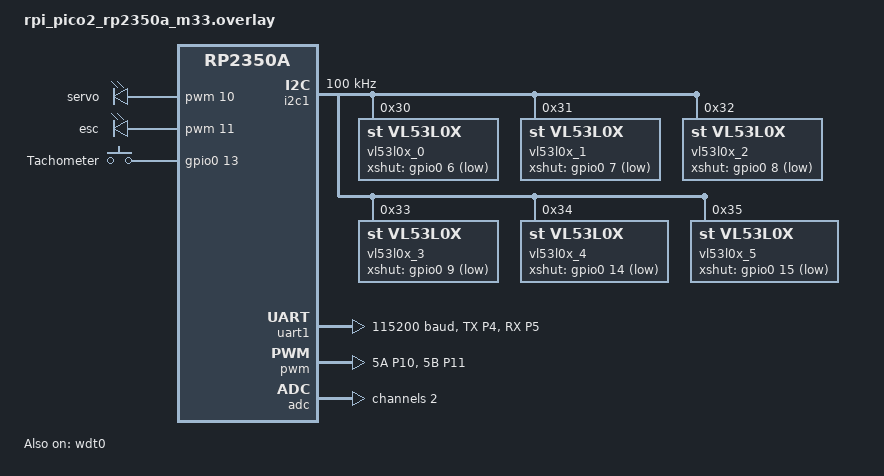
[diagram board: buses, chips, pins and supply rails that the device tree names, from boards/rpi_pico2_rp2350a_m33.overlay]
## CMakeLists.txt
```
cmake_minimum_required(VERSION 3.20.0)

# USB CDC console always enabled for this build
list(APPEND EXTRA_CONF_FILE        ${CMAKE_CURRENT_SOURCE_DIR}/usb_console.conf)
list(APPEND EXTRA_DTC_OVERLAY_FILE ${CMAKE_CURRENT_SOURCE_DIR}/boards/usb_console.overlay)

# Out-of-tree VL53L0X enhanced driver
list(APPEND ZEPHYR_EXTRA_MODULES
  ${CMAKE_CURRENT_SOURCE_DIR}/modules/vl53l0x_enhanced
)

find_package(Zephyr REQUIRED HINTS $ENV{ZEPHYR_BASE})
project(simple_umbreon_zephyr)

target_sources(app PRIVATE
    src/main.c
    src/settings.c
    src/car.c
    src/tachometer.c
    src/sensors.c
    src/battery.c
    src/wifi_cmd.c
    src/control.c
)
```

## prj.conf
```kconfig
# ─── Simple Umbreon Zephyr — Minimal Racing Configuration ─────────────────────

# I/O subsystems
CONFIG_GPIO=y
CONFIG_I2C=y
CONFIG_PWM=y
CONFIG_ADC=y
CONFIG_SERIAL=y
CONFIG_UART_INTERRUPT_DRIVEN=y
CONFIG_SENSOR=y

# VL53L0X enhanced out-of-tree driver (replaces stock)
CONFIG_VL53L0X=n
CONFIG_VL53L0X_ENHANCED=y
CONFIG_VL53L0X_ENHANCED_RECONFIGURE_ADDRESS=y

# NVS persistent settings
CONFIG_NVS=y
CONFIG_NVS_DATA_CRC=y
CONFIG_FLASH=y
CONFIG_FLASH_MAP=y

# Watchdog
CONFIG_WATCHDOG=y

# Console via USB CDC (legacy stack disabled; usb_console.conf enables _NEXT)
CONFIG_CONSOLE=y
CONFIG_UART_CONSOLE=y
CONFIG_USB_DEVICE_STACK=n

# Logging
CONFIG_LOG=y
CONFIG_LOG_DEFAULT_LEVEL=3
CONFIG_PRINTK=y

# UF2 output for BOOTSEL flashing
CONFIG_BUILD_OUTPUT_UF2=y

# Kernel
CONFIG_POLL=y
CONFIG_HEAP_MEM_POOL_SIZE=4096
CONFIG_MAIN_STACK_SIZE=4096
CONFIG_SYS_CLOCK_TICKS_PER_SEC=1000

# Float support in printf (needed for $RUN/$CFG telemetry)
CONFIG_PICOLIBC_IO_FLOAT=y
```

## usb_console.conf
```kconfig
# USB CDC-ACM debug console — new UDC stack (USB_DEVICE_STACK_NEXT)
# Required for RP2350: legacy USB_DEVICE_STACK does not work on rpi_pico2.
CONFIG_USB_DEVICE_STACK_NEXT=y
CONFIG_USBD_CDC_ACM_CLASS=y

# Auto-initialize USB device and CDC ACM at boot (no app code changes needed)
CONFIG_CDC_ACM_SERIAL_INITIALIZE_AT_BOOT=y
CONFIG_CDC_ACM_SERIAL_VID=0x2E8A
CONFIG_CDC_ACM_SERIAL_PID=0x000A
CONFIG_CDC_ACM_SERIAL_PRODUCT_STRING="Umbreon Debug"
CONFIG_CDC_ACM_SERIAL_MANUFACTURER_STRING="Raspberry Pi"

# Line control support for CDC ACM UART
CONFIG_UART_LINE_CTRL=y

# Suppress USB stack noise in logs
CONFIG_USBD_LOG_LEVEL_ERR=y
CONFIG_UDC_DRIVER_LOG_LEVEL_ERR=y
CONFIG_USBD_CDC_ACM_LOG_LEVEL_OFF=y
```

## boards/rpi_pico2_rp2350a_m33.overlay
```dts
/*
 * Devicetree overlay for simple_umbreon_zephyr — Raspberry Pi Pico 2 (RP2350A)
 *
 * Pin assignment:
 *   I2C1  GP2/GP3  100kHz — 6× VL53L0X (0x30–0x35)
 *   UART1 GP4/GP5   115200 — WiFi bridge (ESP8266)
 *   PWM   GP10 (slice 5A) — Steering servo
 *   PWM   GP11 (slice 5B) — Motor ESC
 *   GPIO  GP13 — Tachometer interrupt (RISING)
 *   GPIO  GP6,7,8,9,14,15 — VL53L0X XSHUT pins
 *   ADC   GP28 (channel 2) — Battery voltage divider
 *
 * Removed vs umbreon_zephyr: MPU-6050 (I2C0), SSD1306 OLED, rotary encoder,
 *   UART0 console (USB CDC used instead).
 */

#include <zephyr/dt-bindings/pwm/pwm.h>
#include <zephyr/dt-bindings/i2c/i2c.h>
#include <zephyr/dt-bindings/adc/adc.h>

/ {
	chosen {
		zephyr,console = &uart0;
		zephyr,shell-uart = &uart0;
		zephyr,flash-controller = &qmi;
	};

	pwmleds {
		compatible = "pwm-leds";
		servo: servo_pwm {
			pwms = <&pwm 10 20000000 PWM_POLARITY_NORMAL>;
		};
		esc: esc_pwm {
			pwms = <&pwm 11 20000000 PWM_POLARITY_NORMAL>;
		};
	};

	tachometer {
		compatible = "gpio-keys";
		tach_pin: tach {
			gpios = <&gpio0 13 GPIO_ACTIVE_HIGH>;
			label = "Tachometer";
		};
	};
};

/* ─── Pinctrl overrides ──────────────────────────────────────────────────────── */

/* Override I2C1 pins: GP2 (SDA), GP3 (SCL) — for VL53L0X */
&i2c1_default {
	group1 {
		pinmux = <I2C1_SDA_P2>, <I2C1_SCL_P3>;
		input-enable;
		input-schmitt-enable;
	};
};

/* UART1 pins: GP4 (TX), GP5 (RX) — WiFi bridge (ESP8266) */
&pinctrl {
	uart1_default: uart1_default {
		group1 {
			pinmux = <UART1_TX_P4>;
		};
		group2 {
			pinmux = <UART1_RX_P5>;
			input-enable;
		};
	};
};

/* PWM slice 5 (servo + ESC) */
&pinctrl {
	pwm_ch5ab_default: pwm_ch5ab_default {
		group1 {
			pinmux = <PWM_5A_P10>, <PWM_5B_P11>;
		};
	};
};

/* ─── Disable I2C0 — board default enables it on GP4/GP5, conflicting with UART1 ── */
&i2c0 {
	status = "disabled";
};

/* ─── I2C1: 6× VL53L0X ToF sensors ──────────────────────────────────────────── */
&i2c1 {
	status = "okay";
	clock-frequency = <I2C_BITRATE_STANDARD>;

	vl53l0x_0: vl53l0x@30 {
		compatible = "st,vl53l0x";
		reg = <0x30>;
		xshut-gpios = <&gpio0 6 GPIO_ACTIVE_LOW>;
		status = "okay";
	};
	vl53l0x_1: vl53l0x@31 {
		compatible = "st,vl53l0x";
		reg = <0x31>;
		xshut-gpios = <&gpio0 7 GPIO_ACTIVE_LOW>;
		status = "okay";
	};
	vl53l0x_2: vl53l0x@32 {
		compatible = "st,vl53l0x";
		reg = <0x32>;
		xshut-gpios = <&gpio0 8 GPIO_ACTIVE_LOW>;
		status = "okay";
	};
	vl53l0x_3: vl53l0x@33 {
		compatible = "st,vl53l0x";
		reg = <0x33>;
		xshut-gpios = <&gpio0 9 GPIO_ACTIVE_LOW>;
		status = "okay";
	};
	vl53l0x_4: vl53l0x@34 {
		compatible = "st,vl53l0x";
		reg = <0x34>;
		xshut-gpios = <&gpio0 14 GPIO_ACTIVE_LOW>;
		status = "okay";
	};
	vl53l0x_5: vl53l0x@35 {
		compatible = "st,vl53l0x";
		reg = <0x35>;
		xshut-gpios = <&gpio0 15 GPIO_ACTIVE_LOW>;
		status = "okay";
	};
};

/* ─── UART1: WiFi bridge (GP4 TX, GP5 RX) ────────────────────────────────────── */
&uart1 {
	status = "okay";
	current-speed = <115200>;
	pinctrl-0 = <&uart1_default>;
	pinctrl-names = "default";
};

/* ─── PWM: Servo (GP10) + ESC (GP11) ─────────────────────────────────────────── */
&pwm {
	status = "okay";
	pinctrl-0 = <&pwm_ch5ab_default>;
	pinctrl-names = "default";
};

/* ─── Flash partitions: NVS storage ──────────────────────────────────────────── */
&flash0 {
	partitions {
		compatible = "fixed-partitions";
		#address-cells = <1>;
		#size-cells = <1>;

		/delete-node/ partition@100;

		code_partition: partition@100 {
			label = "code-partition";
			reg = <0x100 (DT_SIZE_M(4) - 0x100 - 0x10000)>;
			read-only;
		};

		storage_partition: partition@3f0000 {
			label = "storage";
			reg = <0x003F0000 0x00010000>;
		};
	};
};

/* ─── Enable watchdog ─────────────────────────────────────────────────────────── */
&wdt0 {
	status = "okay";
};

/* ─── ADC: battery voltage (GP28 = channel 2, 3.3 V reference) ───────────────── */
&adc {
	status = "okay";
	#address-cells = <1>;
	#size-cells = <0>;

	channel@2 {
		reg = <2>;
		zephyr,gain = "ADC_GAIN_1";
		zephyr,reference = "ADC_REF_INTERNAL";
		zephyr,acquisition-time = <ADC_ACQ_TIME_DEFAULT>;
		zephyr,resolution = <12>;
	};
};
```

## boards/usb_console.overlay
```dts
/* USB CDC-ACM debug console overlay
 * Redirects zephyr,console from UART0 to USB virtual serial port.
 */

/ {
	chosen {
		zephyr,console = &cdc_acm_uart0;
	};
};

&zephyr_udc0 {
	cdc_acm_uart0: cdc_acm_uart0 {
		compatible = "zephyr,cdc-acm-uart";
	};
};
```

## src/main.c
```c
/*
 * main.c — Simple umbreon racing firmware entry point.
 *
 * Stripped from umbreon_zephyr: no IMU, battery, display, encoder,
 * track_learn, or tests. Control thread runs the wall-follow law directly.
 */

#include <zephyr/kernel.h>
#include <zephyr/device.h>
#include <zephyr/drivers/gpio.h>
#include <zephyr/drivers/uart.h>
#include <zephyr/logging/log.h>

#if defined(CONFIG_USB_DEVICE_STACK)
#include <zephyr/usb/usb_device.h>
#endif

#include "settings.h"
#include "car.h"
#include "tachometer.h"
#include "sensors.h"
#include "battery.h"
#include "wifi_cmd.h"
#include "control.h"

LOG_MODULE_REGISTER(main, LOG_LEVEL_INF);

#define FW_VERSION "1.0.0"

/* ─── Watchdog ──────────────────────────────────────────────────────────────── */
#include <zephyr/drivers/watchdog.h>

static const struct device *wdt_dev;
static int wdt_channel_id;

static void wdt_init(void)
{
	wdt_dev = DEVICE_DT_GET(DT_NODELABEL(wdt0));
	if (!device_is_ready(wdt_dev)) {
		LOG_WRN("Watchdog not available");
		wdt_dev = NULL;
		return;
	}

	struct wdt_timeout_cfg wdt_cfg = {
		.window.min = 0,
		.window.max = 8000,
		.callback = NULL,
		.flags = WDT_FLAG_RESET_SOC,
	};

	wdt_channel_id = wdt_install_timeout(wdt_dev, &wdt_cfg);
	if (wdt_channel_id < 0) {
		LOG_ERR("Watchdog install failed: %d", wdt_channel_id);
		wdt_dev = NULL;
		return;
	}

	int err = wdt_setup(wdt_dev, WDT_OPT_PAUSE_HALTED_BY_DBG);
	if (err) {
		LOG_ERR("Watchdog setup failed: %d", err);
		wdt_dev = NULL;
	}
}

void wdt_feed_kick(void)
{
	if (wdt_dev) {
		wdt_feed(wdt_dev, wdt_channel_id);
	}
}

/* ─── LED blink ──────────────────────────────────────────────────────────────── */
static const struct gpio_dt_spec led = GPIO_DT_SPEC_GET(DT_ALIAS(led0), gpios);

static void blink_led(int count, int ms)
{
	if (!gpio_is_ready_dt(&led)) {
		return;
	}
	gpio_pin_configure_dt(&led, GPIO_OUTPUT_ACTIVE);
	for (int i = 0; i < count; i++) {
		gpio_pin_set_dt(&led, 1);
		k_msleep(ms);
		gpio_pin_set_dt(&led, 0);
		k_msleep(ms);
	}
}

/* ─── USB console init ───────────────────────────────────────────────────────── */
/* Wait up to 3 s for a USB terminal to assert DTR before printing the banner.
 * Works for both the legacy USB_DEVICE_STACK and the newer _NEXT stack. */
static void usb_console_init(void)
{
	const struct device *dev = DEVICE_DT_GET(DT_CHOSEN(zephyr_console));

	if (!device_is_ready(dev)) {
		return;
	}

#if defined(CONFIG_USB_DEVICE_STACK)
	usb_enable(NULL);
#endif

	uint32_t dtr = 0;
	int64_t deadline = k_uptime_get() + 3000;

	while (!dtr && k_uptime_get() < deadline) {
		uart_line_ctrl_get(dev, UART_LINE_CTRL_DTR, &dtr);
		k_msleep(50);
	}
}

/* ─── Main ──────────────────────────────────────────────────────────────────── */
int main(void)
{
	usb_console_init();

	printk("\n");
	printk("==============================\n");
	printk("  Umbreon Simple v%s\n", FW_VERSION);
	printk("==============================\n");

	settings_init();
	settings_load();

	wdt_init();

	car_init();
	taho_init();
	sensors_init();      /* ~500 ms I2C probing */
	battery_init();
	wdt_feed_kick();
	wifi_cmd_init();

	k_msleep(200);
	wifi_cmd_printf("$BOOT:SNS=%d,FW=%s\n",
			sensors_online_count(), FW_VERSION);

	wdt_feed_kick();
	struct car_settings c;
	settings_get_copy(&c);
	if (!c.calibrated) {
		car_run_calibration();
	} else {
		k_msleep(3700);
	}

	control_init();

	blink_led(3, 100);

	wifi_cmd_printf("$BOOT:READY,UP=%lld\n", k_uptime_get());
	wifi_cmd_send_uicap();

	while (1) {
		k_sleep(K_FOREVER);
	}

	return 0;
}
```

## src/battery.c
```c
/*
 * battery.c — ADC battery voltage monitor
 *
 * Reads GP28 (ADC channel 2) and scales by cfg.bat_multiplier to recover
 * the actual pack voltage. Thread-safe; called from both the control thread
 * (telemetry) and the wifi_cmd thread ($BAT command).
 */

#include "battery.h"
#include "settings.h"

#include <zephyr/kernel.h>
#include <zephyr/drivers/adc.h>
#include <zephyr/logging/log.h>

LOG_MODULE_REGISTER(battery, LOG_LEVEL_INF);

#define BAT_ADC_NODE   DT_NODELABEL(adc)
#define BAT_CH         2    /* GP28 = ADC channel 2 on RP2350 */
#define BAT_RESOLUTION 12

static const struct device *adc_dev;
static bool                 adc_ready;
static K_MUTEX_DEFINE(bat_mutex);

static const struct adc_channel_cfg bat_ch_cfg = {
	.gain             = ADC_GAIN_1,
	.reference        = ADC_REF_INTERNAL,
	.acquisition_time = ADC_ACQ_TIME_DEFAULT,
	.channel_id       = BAT_CH,
};

static float last_voltage;

void battery_init(void)
{
	adc_dev = DEVICE_DT_GET(BAT_ADC_NODE);
	if (!device_is_ready(adc_dev)) {
		LOG_WRN("ADC not ready — battery monitor disabled");
		return;
	}

	int rc = adc_channel_setup(adc_dev, &bat_ch_cfg);
	if (rc) {
		LOG_ERR("ADC channel %d setup failed: %d", BAT_CH, rc);
		return;
	}

	adc_ready = true;
	LOG_INF("Battery ADC ready (GP28, channel %d)", BAT_CH);
}

float battery_voltage(void)
{
	struct car_settings c;
	settings_get_copy(&c);

	if (!adc_ready || !c.bat_enabled) {
		return 0.0f;
	}

	int16_t sample = 0;
	struct adc_sequence seq = {
		.channels    = BIT(BAT_CH),
		.buffer      = &sample,
		.buffer_size = sizeof(sample),
		.resolution  = BAT_RESOLUTION,
	};

	k_mutex_lock(&bat_mutex, K_FOREVER);
	int rc = adc_read(adc_dev, &seq);
	k_mutex_unlock(&bat_mutex);

	if (rc < 0) {
		LOG_DBG("ADC read error: %d", rc);
		return last_voltage;
	}

	int32_t mv = sample;
	adc_raw_to_millivolts(adc_ref_internal(adc_dev), ADC_GAIN_1,
			      BAT_RESOLUTION, &mv);

	last_voltage = (mv / 1000.0f) * c.bat_multiplier;
	return last_voltage;
}

bool battery_is_low(void)
{
	struct car_settings c;
	settings_get_copy(&c);

	if (!c.bat_enabled) {
		return false;
	}

	float v = battery_voltage();
	return (v > 0.1f) && (v < c.bat_low);
}
```

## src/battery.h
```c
#pragma once

#include <stdbool.h>

/* ─── ADC battery voltage monitor (GP28 / channel 2) ─────────────────────── */

void  battery_init(void);

/* Read battery voltage in volts. Returns 0 if bat_enabled=false or ADC not
 * ready. Result is cached; safe to call from multiple threads. */
float battery_voltage(void);

/* True when bat_enabled=true and voltage < bat_low threshold. */
bool  battery_is_low(void);
```

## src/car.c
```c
/*
 * car.c — PWM servo/ESC control + PID speed controller
 *
 * Ported from luna_car.h: write_steer(), write_speed(), pid_control_motor()
 */

#include "car.h"
#include "settings.h"
#include "tachometer.h"

#include <zephyr/kernel.h>
#include <zephyr/device.h>
#include <zephyr/drivers/pwm.h>
#include <zephyr/sys/util.h>
#include <zephyr/logging/log.h>
#include <math.h>
#ifndef M_PI
#define M_PI 3.14159265358979323846
#endif

LOG_MODULE_REGISTER(car, LOG_LEVEL_INF);

/* ─── PWM devices ─────────────────────────────────────────────────────────── */
static const struct pwm_dt_spec servo_pwm = PWM_DT_SPEC_GET(DT_NODELABEL(servo));
static const struct pwm_dt_spec esc_pwm   = PWM_DT_SPEC_GET(DT_NODELABEL(esc));

/* ─── PID state ───────────────────────────────────────────────────────────── */
static float target_speed;
static float pid_ref_applied; /* setpoint after spd_slew limiting */
static float pid_integral;
static float pid_prev_filtered;  /* for derivative-on-measurement */
static float pid_filtered;
static uint32_t pid_prev_cnt;
static int64_t pid_prev_ms;
/* Start boost: edge on forward command from rest */
static int64_t kick_until_ms;
static float kick_prev_pid_ref;

/* ─── Helpers ─────────────────────────────────────────────────────────────── */

/* Convert microseconds to PWM pulse width (in nanoseconds for Zephyr API) */
static inline void servo_set_us(int us)
{
	pwm_set_pulse_dt(&servo_pwm, PWM_USEC(us));
}

static inline void esc_set_us(int us)
{
	pwm_set_pulse_dt(&esc_pwm, PWM_USEC(us));
}

/* Map a value from one range to another (Arduino map() equivalent) */
static inline int map_val(int x, int in_min, int in_max, int out_min, int out_max)
{
	return (x - in_min) * (out_max - out_min) / (in_max - in_min) + out_min;
}

/* ─── Init ────────────────────────────────────────────────────────────────── */

void car_init(void)
{
	if (!pwm_is_ready_dt(&servo_pwm)) {
		LOG_ERR("Servo PWM not ready");
	}
	if (!pwm_is_ready_dt(&esc_pwm)) {
		LOG_ERR("ESC PWM not ready");
	}

	/* Neutral position */
	car_write_steer(0);
	car_write_speed(0);

	LOG_INF("Car PWM init done (servo GP10, ESC GP11)");
}

/* ─── Steering ────────────────────────────────────────────────────────────── */
/* Port of Car::write_steer() from luna_car.h:408-415 */

void car_write_steer(int s)
{
	struct car_settings c;
	settings_get_copy(&c);

	if (c.servo_reverse) {
		s = -s;
	}
	s = CLAMP(s, -1000, 1000);

	int angle;
	if (s < 0) {
		angle = map_val(s, -1000, 0, c.min_point, c.neutral_point);
	} else {
		angle = map_val(s, 0, 1000, c.neutral_point, c.max_point);
	}

	/* Convert angle (0–180°) to pulse width (700–2300 µs) */
	int pulse_us = 700 + angle * 1600 / 180;
	servo_set_us(pulse_us);
}

void car_write_servo_raw(int angle)
{
	angle = CLAMP(angle, 0, 180);
	int pulse_us = 700 + angle * 1600 / 180;
	servo_set_us(pulse_us);
}

/* ─── ESC ─────────────────────────────────────────────────────────────────── */

void car_write_esc_us(int us)
{
	us = CLAMP(us, 1000, 2000);
	esc_set_us(us);
}

/* Port of Car::write_speed() from luna_car.h:396-405 */
void car_write_speed(int s)
{
	struct car_settings c;
	settings_get_copy(&c);

	/* Reset PID state — direct control bypasses PID */
	car_pid_reset();

	s = CLAMP(s, -1000, 1000);
	int us;
	if (s > 0) {
		us = map_val(s, 1, 1000, c.min_speed, c.max_speed);
	} else if (s < 0) {
		us = map_val(s, -1000, -1, 1000, c.min_bspeed);
	} else {
		us = NEUTRAL_SPEED;
	}
	esc_set_us(us);
}

void car_write_speed_ms(float target)
{
	target_speed = target;
}

/* ─── PID ─────────────────────────────────────────────────────────────────── */
/* Port of Car::pid_control_motor() from luna_car.h:350-390 */

void car_pid_reset(void)
{
	pid_integral = 0;
	pid_prev_filtered = 0;
	pid_filtered = 0;
	pid_prev_cnt = taho_get_count();
	pid_prev_ms = 0;
	target_speed = 0;
	pid_ref_applied = 0;
	kick_until_ms = 0;
	kick_prev_pid_ref = 0;
}

void car_pid_control(void)
{
	struct car_settings c;
	settings_get_copy(&c);

	int64_t now_ms = k_uptime_get();
	if (pid_prev_ms == 0) {
		pid_prev_ms = now_ms;
		return;
	}

	float dt = (now_ms - pid_prev_ms) / 1000.0f;
	if (dt < 0.01f) {
		return;
	}
	pid_prev_ms = now_ms;

	/* Count-based speed measurement */
	uint32_t cnt = taho_get_count();
	uint32_t delta_cnt = cnt - pid_prev_cnt;
	pid_prev_cnt = cnt;

	float raw_speed = 0.0f;
	if (c.encoder_holes > 0) {
		raw_speed = (delta_cnt / (float)c.encoder_holes) *
			    ((float)M_PI * c.wheel_diam_m) / dt;
	}

	/* EMA filter (0.7 = responsive, 0.3 = smooth) */
	pid_filtered = 0.7f * raw_speed + 0.3f * pid_filtered;
	if (taho_time_since_last_us() > 500000) {
		pid_filtered = 0;
	}

	/* Slew-limit setpoint (m/s²) — smooth start / mode transitions */
	if (c.spd_slew > 0.001f) {
		float step = c.spd_slew * dt;
		if (target_speed > pid_ref_applied + step) {
			pid_ref_applied += step;
		} else if (target_speed < pid_ref_applied - step) {
			pid_ref_applied -= step;
		} else {
			pid_ref_applied = target_speed;
		}
	} else {
		pid_ref_applied = target_speed;
	}

	/* Kick-off pulse: % of (max−min) ESC span for kick_ms after forward edge from rest */
	bool want_fwd = pid_ref_applied > 0.02f;
	bool had_fwd = kick_prev_pid_ref > 0.02f;
	if (!want_fwd) {
		kick_until_ms = 0;
	} else if (!had_fwd && pid_filtered < 0.10f && c.kick_pct > 0.05f &&
		   c.kick_ms > 0) {
		kick_until_ms = now_ms + c.kick_ms;
	}
	if (want_fwd && pid_ref_applied > 0.05f &&
	    pid_filtered >= pid_ref_applied * 0.78f) {
		kick_until_ms = 0;
	}
	kick_prev_pid_ref = pid_ref_applied;

	/* PID — derivative on measurement (no kick on target change) */
	float error = pid_ref_applied - pid_filtered;
	pid_integral += error * dt;
	pid_integral = CLAMP(pid_integral, -50.0f, 50.0f);
	float deriv = -(pid_filtered - pid_prev_filtered) / dt;
	pid_prev_filtered = pid_filtered;

	/* Feedforward: jump past motor dead zone (follows slewed setpoint) */
	float ff = (pid_ref_applied > 0.01f) ? (float)(c.min_speed - NEUTRAL_SPEED) : 0;
	float output = ff + c.pid_kp * error + c.pid_ki * pid_integral + c.pid_kd * deriv;

	float kick_us = 0.0f;
	if (c.kick_pct > 0.05f && want_fwd && now_ms < kick_until_ms) {
		int span = c.max_speed - c.min_speed;
		if (span < 1) {
			span = 1;
		}
		kick_us = (c.kick_pct / 100.0f) * (float)span;
		if (kick_us > 40.0f) {
			kick_us = 40.0f;
		}
	}

	int esc_val = NEUTRAL_SPEED + (int)(output + kick_us);
	esc_val = CLAMP(esc_val, NEUTRAL_SPEED, c.max_speed);
	esc_set_us(esc_val);
}

/* ─── ESC Calibration ─────────────────────────────────────────────────────── */
/* Port of run_calibration() from Umbreon_roborace.ino:1030-1057 */

void car_run_calibration(void)
{
	extern void wdt_feed_kick(void);
	extern void wifi_cmd_send(const char *str);

	LOG_INF("ESC calibration: max signal");
	wifi_cmd_send("$T:CAL,phase=esc_max\n");
	esc_set_us(2000);
	k_msleep(3000);
	wdt_feed_kick();

	LOG_INF("ESC calibration: min signal");
	wifi_cmd_send("$T:CAL,phase=esc_min\n");
	esc_set_us(1000);
	k_msleep(3000);
	wdt_feed_kick();

	LOG_INF("ESC calibration: neutral");
	wifi_cmd_send("$T:CAL,phase=esc_neutral\n");
	esc_set_us(NEUTRAL_SPEED);
	k_msleep(1000);
	wdt_feed_kick();

	settings_lock();
	cfg.calibrated = true;
	settings_unlock();
	if (!settings_save()) {
		LOG_WRN("ESC calibration flag save failed");
		wifi_cmd_send("$WARN:CAL_SAVE_FAILED\n");
	}

	wifi_cmd_send("$T:CAL,phase=done\n");
	wifi_cmd_send("$TDONE:cal\n");
	LOG_INF("ESC calibration complete");
}
```

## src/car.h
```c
#pragma once

#include <stdbool.h>

/* ─── Car control: PWM servo + ESC ────────────────────────────────────────── */

void car_init(void);

/* Steering: -1000 (left) … +1000 (right) */
void car_write_steer(int s);

/* Direct servo angle write (0–180°) for calibration */
void car_write_servo_raw(int angle);

/* Direct ESC µs write (1000–2000) for calibration */
void car_write_esc_us(int us);

/* Raw speed: -1000 … +1000, bypasses PID */
void car_write_speed(int s);

/* Set target speed for PID (m/s) */
void car_write_speed_ms(float target);

/* Run PID control tick — call from control loop */
void car_pid_control(void);

/* PID state reset */
void car_pid_reset(void);

/* ESC calibration: max → min → neutral */
void car_run_calibration(void);
```

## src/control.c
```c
/*
 * control.c — Simple wall-follow racing loop.
 *
 * Ports roborace_car/roborace_car.ino work() to Zephyr.
 * No IMU, no stuck/wrong-dir recovery. PID speed loop via car.c.
 *
 * All 6 sensors are used. Physical layout:
 *
 *          FRONT
 *   FL(4)       FR(1)
 * HL(5)           HR(0)
 *   L(3)         R(2)
 *          REAR
 *
 * Front obstacle : FL(4), FR(1)            — blocked-lane detection
 * Side wall dist : MIN(L,HL), MIN(R,HR)    — catches angled wall approaches
 */

#include "control.h"
#include "settings.h"
#include "car.h"
#include "tachometer.h"
#include "sensors.h"
#include "battery.h"
#include "wifi_cmd.h"

#include <zephyr/kernel.h>
#include <zephyr/sys/util.h>
#include <zephyr/logging/log.h>
#include <zephyr/drivers/gpio.h>

LOG_MODULE_REGISTER(control, LOG_LEVEL_INF);

static const struct gpio_dt_spec led = GPIO_DT_SPEC_GET(DT_ALIAS(led0), gpios);

#define CONTROL_STACK_SIZE 4096
#define CONTROL_PRIORITY   2

static K_THREAD_STACK_DEFINE(control_stack, CONTROL_STACK_SIZE);
static struct k_thread control_td;

struct control_state {
	bool running;
	bool drv_enabled;
	bool manual_active;   /* set by $DRV; expires after 500 ms */
	bool raw_esc_active;
	bool raw_servo_active;
	int manual_steer;
	float manual_speed;
	int raw_esc_us;
	int raw_servo_angle;
	int64_t last_drv_ms;
};

static struct control_state ctl;
static K_MUTEX_DEFINE(ctl_mutex);

extern void wdt_feed_kick(void);

static int run_div;
static uint32_t telem_count;

static void neutral_actuators(void)
{
	car_write_speed(0);
	car_write_steer(0);
	car_pid_reset();
}

static void clear_drive_command_locked(void)
{
	ctl.manual_active = false;
	ctl.raw_esc_active = false;
	ctl.raw_servo_active = false;
	ctl.manual_steer = 0;
	ctl.manual_speed = 0.0f;
	ctl.raw_esc_us = NEUTRAL_SPEED;
	ctl.raw_servo_angle = 90;
}

static void control_safe_stop(bool stop_running, bool disable_drive)
{
	k_mutex_lock(&ctl_mutex, K_FOREVER);
	if (stop_running) {
		ctl.running = false;
	}
	if (disable_drive) {
		ctl.drv_enabled = false;
	}
	clear_drive_command_locked();
	k_mutex_unlock(&ctl_mutex);

	neutral_actuators();
}

static void send_telem(const int *s, int steer, float spd_target)
{
	float bat = battery_voltage();

	wifi_cmd_printf("%lld,%d,%d,%d,%d,%d,%d,%d,%.2f,%.1f,%.2f\n",
			k_uptime_get(),
			s[0], s[1], s[2], s[3], s[4], s[5],
			steer, (double)taho_get_speed(), (double)spd_target,
			(double)bat);

	if ((++telem_count % 25) == 0) {  /* every ~5 s */
		LOG_INF("telem tx: %u frames", telem_count);
	}

	if (battery_is_low()) {
		wifi_cmd_printf("$WARN:BAT_LOW,v=%.2f\n", (double)bat);
	}
}

static void work(const struct car_settings *c)
{
	gpio_pin_toggle_dt(&led);
	int *s = sensors_poll();
	if (!sensors_required_ready(c->use_six_sensors)) {
		control_safe_stop(true, true);
		wifi_cmd_send("$WARN:SENSOR_FAULT\n");
		wifi_cmd_send("$STS:STOP\n");
		return;
	}

	int HR = s[IDX_HARD_RIGHT];
	int FR = s[IDX_FRONT_RIGHT];
	int R  = s[IDX_RIGHT];
	int L  = s[IDX_LEFT];
	int FL = s[IDX_FRONT_LEFT];
	int HL = s[IDX_HARD_LEFT];

	/* Front obstacle detection: diagonal sensors only */
	bool f_l = FL < c->front_obstacle_dist;
	bool f_r = FR < c->front_obstacle_dist;

	/* Side wall distances.
	 * 6-sensor mode: MIN of each pair catches angled approaches early.
	 * 4-sensor mode: pure side sensors only (legacy behaviour). */
	int left_wall  = c->use_six_sensors ? MIN(L, HL) : L;
	int right_wall = c->use_six_sensors ? MIN(R, HR) : R;

	int diff;
	if (left_wall > c->side_open_dist && right_wall > c->side_open_dist) {
		/* Both sides open: bias right to find a wall */
		diff = 800;
	} else {
		diff = right_wall - left_wall;
	}

	/* Boxed in: core 4 sensors always checked; HL/HR added in 6-sensor mode */
	bool boxed = (L  < c->all_close_dist) && (FL < c->all_close_dist) &&
		     (FR < c->all_close_dist) && (R  < c->all_close_dist) &&
		     (!c->use_six_sensors ||
		      (HL < c->all_close_dist && HR < c->all_close_dist));
	if (boxed) {
		diff = 800;
	}

	int how_clear = (int)f_l + (int)f_r;
	float coef = (how_clear == 0) ? c->coe_clear   : c->coe_blocked;
	float spd  = (how_clear == 0) ? c->spd_clear   : c->spd_blocked;

	int steer = (int)((float)diff * coef);
	car_write_steer(steer);
	car_write_speed_ms(spd);
	car_pid_control();

	if (++run_div >= 5) {   /* 5 × 40 ms = 200 ms telemetry cadence */
		run_div = 0;
		send_telem(s, steer, spd);
		wifi_cmd_printf("$RUN:%d,%d\n", how_clear, steer);
	}
}

static void control_thread(void *a, void *b, void *c_)
{
	ARG_UNUSED(a);
	ARG_UNUSED(b);
	ARG_UNUSED(c_);

	struct car_settings c;
	settings_get_copy(&c);
	int64_t next = k_uptime_get();

	LOG_INF("Control thread started");

	while (1) {
		wdt_feed_kick();

		int64_t now = k_uptime_get();
		if (now < next) {
			k_msleep((int32_t)(next - now));
			now = k_uptime_get();
		}
		settings_get_copy(&c);
		next = (next + c.loop_ms > now) ? next + c.loop_ms : now + c.loop_ms;

		struct control_state snap;
		k_mutex_lock(&ctl_mutex, K_FOREVER);
		snap = ctl;
		k_mutex_unlock(&ctl_mutex);

		bool has_drive_cmd = snap.manual_active || snap.raw_esc_active ||
				     snap.raw_servo_active;
		bool drv_fresh = has_drive_cmd &&
				 (k_uptime_get() - snap.last_drv_ms < 500);
		bool drv_active = snap.drv_enabled && drv_fresh;

		if (drv_active) {
			int *s = sensors_poll();
			if (!sensors_required_ready(c.use_six_sensors)) {
				control_safe_stop(true, true);
				wifi_cmd_send("$WARN:SENSOR_FAULT\n");
				wifi_cmd_send("$STS:STOP\n");
				continue;
			}
			if (snap.raw_servo_active) {
				car_write_servo_raw(snap.raw_servo_angle);
			} else {
				car_write_steer(snap.manual_steer);
			}
			if (snap.raw_esc_active) {
				car_write_esc_us(snap.raw_esc_us);
			} else {
				car_write_speed_ms(snap.manual_speed);
				car_pid_control();
			}
			if (++run_div >= 5) {
				run_div = 0;
				send_telem(s, snap.manual_steer, snap.manual_speed);
			}
		} else if (snap.drv_enabled && has_drive_cmd && !drv_fresh) {
			control_safe_stop(false, false);
		} else if (snap.running) {
			k_mutex_lock(&ctl_mutex, K_FOREVER);
			clear_drive_command_locked();
			k_mutex_unlock(&ctl_mutex);
			work(&c);
		} else {
			int *s = sensors_poll();
			if (++run_div >= 5) {
				run_div = 0;
				send_telem(s, 0, 0.0f);
			}
		}
	}
}

void control_init(void)
{
	gpio_pin_configure_dt(&led, GPIO_OUTPUT_INACTIVE);
	k_thread_create(&control_td, control_stack,
			K_THREAD_STACK_SIZEOF(control_stack),
			control_thread, NULL, NULL, NULL,
			CONTROL_PRIORITY, 0, K_NO_WAIT);
	k_thread_name_set(&control_td, "control");
}

void control_cmd_start(void)
{
	struct car_settings c;
	settings_get_copy(&c);
	if (!sensors_required_ready(c.use_six_sensors)) {
		wifi_cmd_send("$NAK:sensor_fault\n");
		return;
	}

	car_pid_reset();
	k_mutex_lock(&ctl_mutex, K_FOREVER);
	ctl.running = true;
	clear_drive_command_locked();
	k_mutex_unlock(&ctl_mutex);
	wifi_cmd_send("$STS:RUN\n");
}

void control_cmd_stop(void)
{
	control_safe_stop(true, true);
	wifi_cmd_send("$STS:STOP\n");
}

bool control_is_running(void)
{
	bool is_running;
	k_mutex_lock(&ctl_mutex, K_FOREVER);
	is_running = ctl.running;
	k_mutex_unlock(&ctl_mutex);
	return is_running;
}

bool control_drive_enabled(void)
{
	bool enabled;
	k_mutex_lock(&ctl_mutex, K_FOREVER);
	enabled = ctl.drv_enabled;
	k_mutex_unlock(&ctl_mutex);
	return enabled;
}

bool control_set_manual(int steer, float speed)
{
	bool accepted = false;

	k_mutex_lock(&ctl_mutex, K_FOREVER);
	if (ctl.drv_enabled) {
		ctl.manual_steer = steer;
		ctl.manual_speed = speed;
		ctl.manual_active = true;
		ctl.raw_esc_active = false;
		ctl.raw_servo_active = false;
		ctl.last_drv_ms = k_uptime_get();
		accepted = true;
	}
	k_mutex_unlock(&ctl_mutex);

	return accepted;
}

bool control_set_raw_esc_us(int us)
{
	bool accepted = false;

	k_mutex_lock(&ctl_mutex, K_FOREVER);
	if (ctl.drv_enabled) {
		ctl.raw_esc_us = CLAMP(us, 1000, 2000);
		ctl.raw_esc_active = true;
		ctl.raw_servo_active = false;
		ctl.raw_servo_angle = 90;
		ctl.manual_active = false;
		ctl.manual_speed = 0.0f;
		ctl.manual_steer = 0;
		ctl.last_drv_ms = k_uptime_get();
		accepted = true;
	}
	k_mutex_unlock(&ctl_mutex);

	return accepted;
}

bool control_set_raw_servo(int angle)
{
	bool accepted = false;

	k_mutex_lock(&ctl_mutex, K_FOREVER);
	if (ctl.drv_enabled) {
		ctl.raw_servo_angle = CLAMP(angle, 0, 180);
		ctl.raw_servo_active = true;
		ctl.raw_esc_active = false;
		ctl.raw_esc_us = NEUTRAL_SPEED;
		ctl.manual_active = false;
		ctl.manual_steer = 0;
		ctl.manual_speed = 0.0f;
		ctl.last_drv_ms = k_uptime_get();
		accepted = true;
	}
	k_mutex_unlock(&ctl_mutex);

	return accepted;
}

void control_set_drv_enabled(bool enabled)
{
	k_mutex_lock(&ctl_mutex, K_FOREVER);
	ctl.drv_enabled = enabled;
	if (!enabled) {
		clear_drive_command_locked();
	}
	k_mutex_unlock(&ctl_mutex);

	if (!enabled) {
		neutral_actuators();
	}
}
```

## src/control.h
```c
#pragma once

#include <stdbool.h>

void control_init(void);

bool control_is_running(void);

void control_cmd_start(void);
void control_cmd_stop(void);

bool control_drive_enabled(void);
bool control_set_manual(int steer, float speed);
bool control_set_raw_esc_us(int us);
bool control_set_raw_servo(int angle);
void control_set_drv_enabled(bool enabled);
```

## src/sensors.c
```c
/*
 * sensors.c — 6× VL53L0X ToF sensor array
 *
 * Uses the enhanced VL53L0X driver (out-of-tree module) which supports
 * continuous back-to-back measurement mode via standard Zephyr sensor API.
 * Non-blocking reads (~1 ms/sensor instead of ~33 ms in single-shot).
 *
 * Sensor order: [Hard-Right, Front-Right, Right, Left, Front-Left, Hard-Left]
 */

#include "sensors.h"
#include "settings.h"

#include <errno.h>
#include <zephyr/kernel.h>
#include <zephyr/device.h>
#include <zephyr/devicetree.h>
#include <zephyr/drivers/sensor.h>
#include <zephyr/drivers/i2c.h>
#include <zephyr/sys/util.h>
#include <zephyr/logging/log.h>
#if CONFIG_DT_HAS_ST_VL53L0X_ENABLED
#include <vl53l0x_enhanced.h>
#endif

LOG_MODULE_REGISTER(sensors, LOG_LEVEL_INF);

#define VL53L0X_MAX_RAW  8190  /* sensor overflow / out-of-range indicator */
#define VL53_ERROR_LIMIT 3
#define VL53_STALE_MS    300
#define VL53_STATUS_SIGNAL_FAIL 2
#define VL53_STATUS_NO_UPDATE   255

static int distances[SENSOR_COUNT]; /* cm×10 */
static int online_count;
static uint8_t error_count[SENSOR_COUNT];
static int64_t last_ok_ms[SENSOR_COUNT];
static bool fresh[SENSOR_COUNT];
static K_MUTEX_DEFINE(sensor_mutex);

#if CONFIG_DT_HAS_ST_VL53L0X_ENABLED
/* ─── Device handles ──────────────────────────────────────────────────────── */
static const struct device *vl53_devs[SENSOR_COUNT];
static bool vl53_valid[SENSOR_COUNT];

extern void wdt_feed_kick(void);

/* ─── Sensor nodelabel → device mapping ───────────────────────────────────── */
#define VL53_DEV(idx, label) \
	vl53_devs[idx] = DEVICE_DT_GET_OR_NULL(DT_NODELABEL(label))
#endif

/* ─── Init ────────────────────────────────────────────────────────────────── */

void sensors_init(void)
{
#if CONFIG_DT_HAS_ST_VL53L0X_ENABLED
	/* Try I2C bus recovery before initializing sensors */
	const struct device *i2c1 = DEVICE_DT_GET(DT_NODELABEL(i2c1));
	if (device_is_ready(i2c1)) {
		int rc = i2c_recover_bus(i2c1);
		if (rc == 0) {
			LOG_INF("I2C1 bus recovery OK");
		} else if (rc == -ENOSYS) {
			LOG_DBG("I2C1 bus recovery not supported");
		} else {
			LOG_WRN("I2C1 bus recovery failed: %d", rc);
		}
	}

	/* Get device handles — order matches sensor_config.h indices */
	VL53_DEV(0, vl53l0x_0);  /* IDX_HARD_RIGHT  — XSHUT GP6  */
	VL53_DEV(1, vl53l0x_1);  /* IDX_FRONT_RIGHT — XSHUT GP7  */
	VL53_DEV(2, vl53l0x_2);  /* IDX_RIGHT       — XSHUT GP8  */
	VL53_DEV(3, vl53l0x_3);  /* IDX_LEFT        — XSHUT GP9  */
	VL53_DEV(4, vl53l0x_4);  /* IDX_FRONT_LEFT  — XSHUT GP14 */
	VL53_DEV(5, vl53l0x_5);  /* IDX_HARD_LEFT   — XSHUT GP15 */

	online_count = 0;
	for (int i = 0; i < SENSOR_COUNT; i++) {
		distances[i] = 9999;
		error_count[i] = 0;
		last_ok_ms[i] = 0;
		fresh[i] = false;
		if (vl53_devs[i] && device_is_ready(vl53_devs[i])) {
			vl53_valid[i] = true;
			online_count++;
		} else {
			vl53_valid[i] = false;
			LOG_WRN("VL53L0X[%d] not ready", i);
		}
	}

	LOG_INF("VL53L0X: %d/%d online", online_count, SENSOR_COUNT);

	/*
	 * Phase 2: trigger lazy init (calibration) via first blocking fetch,
	 * then configure high-speed profile and continuous mode.
	 */
	int cont_count = 0;
	for (int i = 0; i < SENSOR_COUNT; i++) {
		if (!vl53_valid[i]) {
			continue;
		}

		/* First fetch triggers lazy init: XSHUT release, address reconfig,
		 * DataInit, StaticInit, calibration (~50 ms per sensor). */
		int rc = sensor_sample_fetch(vl53_devs[i]);
		wdt_feed_kick();
		if (rc != 0) {
			LOG_WRN("VL53L0X[%d] init fetch failed: %d", i, rc);
			vl53_valid[i] = false;
			online_count--;
			continue;
		}

		/* Set high-speed profile (20 ms timing budget) */
		struct sensor_value val = { .val1 = VL53L0X_PROFILE_HIGH_SPEED };
		rc = sensor_attr_set(vl53_devs[i], SENSOR_CHAN_DISTANCE,
				     (enum sensor_attribute)SENSOR_ATTR_VL53L0X_PROFILE,
				     &val);
		if (rc != 0) {
			LOG_WRN("VL53L0X[%d] profile set failed: %d", i, rc);
		}

		/* Switch to continuous back-to-back mode */
		val.val1 = VL53L0X_MODE_CONTINUOUS;
		rc = sensor_attr_set(vl53_devs[i], SENSOR_CHAN_DISTANCE,
				     (enum sensor_attribute)SENSOR_ATTR_VL53L0X_MODE,
				     &val);
		if (rc != 0) {
			LOG_WRN("VL53L0X[%d] continuous start failed: %d", i, rc);
			vl53_valid[i] = false;
			online_count--;
		} else {
			cont_count++;
		}
	}

	LOG_INF("VL53L0X: %d/%d continuous mode", cont_count, online_count);
#else
	online_count = 0;
	for (int i = 0; i < SENSOR_COUNT; i++) {
		distances[i] = 9999;
		error_count[i] = 0;
		last_ok_ms[i] = 0;
		fresh[i] = false;
	}
	LOG_WRN("VL53 disabled by devicetree overlay (HIL no-sensors mode)");
#endif
}

/* ─── Poll ────────────────────────────────────────────────────────────────── */

#if CONFIG_DT_HAS_ST_VL53L0X_ENABLED
static void mark_invalid(int i)
{
	k_mutex_lock(&sensor_mutex, K_FOREVER);
	distances[i] = 9999;
	fresh[i] = false;
	k_mutex_unlock(&sensor_mutex);
}

static void mark_open(int i)
{
	k_mutex_lock(&sensor_mutex, K_FOREVER);
	distances[i] = 9999;
	error_count[i] = 0;
	last_ok_ms[i] = k_uptime_get();
	fresh[i] = true;
	k_mutex_unlock(&sensor_mutex);
}

static void mark_stale_if_needed(int i)
{
	k_mutex_lock(&sensor_mutex, K_FOREVER);
	if (last_ok_ms[i] > 0 &&
	    k_uptime_get() - last_ok_ms[i] > VL53_STALE_MS) {
		distances[i] = 9999;
		fresh[i] = false;
	}
	k_mutex_unlock(&sensor_mutex);
}

static void mark_error(int i)
{
	k_mutex_lock(&sensor_mutex, K_FOREVER);
	if (error_count[i] < UINT8_MAX) {
		error_count[i]++;
	}

	if (error_count[i] >= VL53_ERROR_LIMIT ||
	    (last_ok_ms[i] > 0 &&
	     k_uptime_get() - last_ok_ms[i] > VL53_STALE_MS)) {
		distances[i] = 9999;
		fresh[i] = false;
	}
	k_mutex_unlock(&sensor_mutex);
}

static void store_mm(int i, int mm)
{
	if (mm >= VL53L0X_MAX_RAW) {
		mark_open(i);
	} else if (mm <= 0) {
		mark_error(i);
	} else {
		k_mutex_lock(&sensor_mutex, K_FOREVER);
		distances[i] = (mm < MAX_SENSOR_RANGE) ? mm : MAX_SENSOR_RANGE;
		error_count[i] = 0;
		last_ok_ms[i] = k_uptime_get();
		fresh[i] = true;
		k_mutex_unlock(&sensor_mutex);
	}
}

static void poll_one(int i)
{
	if (!vl53_valid[i]) {
		mark_invalid(i);
		return;
	}

	int rc = sensor_sample_fetch(vl53_devs[i]);
	if (rc != 0) {
		if (rc == -EAGAIN) {
			mark_stale_if_needed(i);
			return;
		}
		mark_error(i);
		return;
	}

	struct sensor_value status;
	rc = sensor_channel_get(vl53_devs[i],
				(enum sensor_channel)SENSOR_CHAN_VL53L0X_RANGE_STATUS,
				&status);
	bool status_valid = (rc == 0);

	struct sensor_value val;
	rc = sensor_channel_get(vl53_devs[i], SENSOR_CHAN_DISTANCE, &val);
	if (rc != 0) {
		mark_error(i);
		return;
	}

	/* Convert meters.microns to mm (== cm×10) */
	int mm = val.val1 * 1000 + val.val2 / 1000;
	if (status_valid && status.val1 != 0) {
		if (status.val1 == VL53_STATUS_SIGNAL_FAIL &&
		    mm >= MAX_SENSOR_RANGE) {
			mark_open(i);
		} else if (status.val1 == VL53_STATUS_NO_UPDATE) {
			mark_stale_if_needed(i);
		} else {
			mark_error(i);
		}
		return;
	}
	store_mm(i, mm);
}
#endif

int *sensors_poll(void)
{
#if CONFIG_DT_HAS_ST_VL53L0X_ENABLED
	for (int i = 0; i < SENSOR_COUNT; i++) {
		poll_one(i);
	}
#endif
	return distances;
}

int *sensors_poll_mask(uint8_t mask)
{
#if CONFIG_DT_HAS_ST_VL53L0X_ENABLED
	for (int i = 0; i < SENSOR_COUNT; i++) {
		if (mask & BIT(i)) {
			poll_one(i);
		}
	}
#else
	ARG_UNUSED(mask);
#endif
	return distances;
}

int sensors_online_count(void)
{
	return online_count;
}

bool sensors_required_ready(bool use_six_sensors)
{
	uint8_t mask = BIT(IDX_FRONT_RIGHT) | BIT(IDX_RIGHT) |
		       BIT(IDX_LEFT) | BIT(IDX_FRONT_LEFT);
	bool ready = true;

	if (use_six_sensors) {
		mask |= BIT(IDX_HARD_RIGHT) | BIT(IDX_HARD_LEFT);
	}

	k_mutex_lock(&sensor_mutex, K_FOREVER);
	for (int i = 0; i < SENSOR_COUNT; i++) {
		if ((mask & BIT(i)) == 0) {
			continue;
		}
		if (!fresh[i] || last_ok_ms[i] == 0 ||
		    k_uptime_get() - last_ok_ms[i] > VL53_STALE_MS) {
			ready = false;
			break;
		}
	}
	k_mutex_unlock(&sensor_mutex);

	return ready;
}

const int *sensors_get_distances(void)
{
	return distances;
}
```

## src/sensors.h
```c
#pragma once

#include <stdbool.h>
#include <stdint.h>

/* ─── VL53L0X ToF sensor array (6 sensors on I2C1) ───────────────────────── */

void sensors_init(void);

/* Poll all sensors — updates internal distance array.
 * Returns pointer to static int[6] of distances in cm×10. */
int *sensors_poll(void);

/* Poll only sensors selected by bitmask (BIT(IDX_LEFT) | BIT(IDX_RIGHT) etc.).
 * Unselected sensors keep their previous values.
 * Returns same pointer as sensors_poll(). */
int *sensors_poll_mask(uint8_t mask);

/* Get number of successfully initialized sensors */
int sensors_online_count(void);

/* True when the control-critical sensor set is initialized and fresh. */
bool sensors_required_ready(bool use_six_sensors);

/* Get pointer to last-polled distance array (6 values, cm×10).
 * Updated by sensors_poll() in control thread. Read-only. */
const int *sensors_get_distances(void);
```

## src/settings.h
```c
#pragma once

#include <stdbool.h>
#include <stdint.h>

/* ─── Runtime-configurable parameters (35 total) ──────────────────────────── */
struct car_settings {
	/* Obstacle thresholds (cm×10) */
	int front_obstacle_dist;
	int side_open_dist;
	int all_close_dist;
	int close_front_dist;

	/* PID coefficients */
	float pid_kp;
	float pid_ki;
	float pid_kd;

	/* ESC limits (µs, 1000–2000, neutral 1500) */
	int min_speed;
	int max_speed;
	int min_bspeed;

	/* Steering limits (servo degrees) */
	int min_point;
	int max_point;
	int neutral_point;

	/* Tachometer */
	int encoder_holes;
	float wheel_diam_m;

	/* Control loop */
	int loop_ms;

	/* Speed/steer coefficients */
	float spd_clear;
	float spd_blocked;
	/* Max rate of change of PID speed setpoint (m/s²); 0 = instant step */
	float spd_slew;
	/* Start boost: extra ESC µs = kick_pct% of (max_speed−min_speed) for kick_ms */
	float kick_pct;
	int   kick_ms;
	float coe_clear;
	float coe_blocked;

	/* Navigation */
	float wrong_dir_deg;
	bool race_cw;
	int stuck_thresh;
	int stall_thresh;

	/* IMU */
	bool imu_rotate;

	/* Servo */
	bool servo_reverse;

	/* Sensor mode: true = use all 6 sensors, false = 4-sensor legacy mode */
	bool use_six_sensors;

	/* Calibration */
	bool calibrated;

	/* Battery */
	bool bat_enabled;
	float bat_multiplier;
	float bat_low;

	/* Tachometer glitch reject threshold (µs) */
	int tach_glitch_filter_us;

	/* Recovery (reverse-and-turn when stuck) */
	int   reverse_time_ms;
	int   turn_time_ms;
	float reverse_speed;
};

/* Global configuration instance */
extern struct car_settings cfg;

/* ─── Sensor constants ────────────────────────────────────────────────────── */
#define SENSOR_COUNT        6
#define IDX_HARD_RIGHT      0
#define IDX_FRONT_RIGHT     1
#define IDX_RIGHT           2
#define IDX_LEFT            3
#define IDX_FRONT_LEFT      4
#define IDX_HARD_LEFT       5
#define MAX_SENSOR_RANGE    2000  /* cm×10 (200 cm) */

/* Default thresholds (cm×10) — tighter for short-range VL53L0X */
#define DEFAULT_FOD         800
#define DEFAULT_SOD         600
#define DEFAULT_ACD         400
#define DEFAULT_CFD         100    /* 10 cm */

/* ─── ESC constants ───────────────────────────────────────────────────────── */
#define NEUTRAL_SPEED       1500  /* µs — never changes */

/* ─── API ─────────────────────────────────────────────────────────────────── */
void settings_init(void);
bool settings_load(void);
bool settings_save(void);
void settings_reset(void);
void settings_sanitize(struct car_settings *in_out);
void settings_set_copy(const struct car_settings *in);

/* Thread-safe config access */
void settings_lock(void);
void settings_unlock(void);
void settings_get_copy(struct car_settings *out);
```

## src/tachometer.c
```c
/*
 * tachometer.c — Optical encoder speed measurement
 *
 * Ported from luna_car.h: taho_interrupt(), get_speed()
 * Uses GPIO interrupt on GP13 (RISING edge) with atomic variables.
 */

#include "tachometer.h"
#include "settings.h"

#include <zephyr/kernel.h>
#include <zephyr/device.h>
#include <zephyr/drivers/gpio.h>
#include <zephyr/sys/atomic.h>
#include <zephyr/logging/log.h>
#include <math.h>
#ifndef M_PI
#define M_PI 3.14159265358979323846
#endif

LOG_MODULE_REGISTER(tachometer, LOG_LEVEL_INF);

/* ─── GPIO ────────────────────────────────────────────────────────────────── */
static const struct gpio_dt_spec tach_gpio = GPIO_DT_SPEC_GET(DT_NODELABEL(tach_pin), gpios);
static struct gpio_callback tach_cb_data;

/* ─── Shared state (ISR writes, main reads — all atomic) ──────────────────── */
static atomic_t taho_count     = ATOMIC_INIT(0);
static atomic_t taho_last_cyc  = ATOMIC_INIT(0);  /* raw HW cycles */
static atomic_t taho_interval  = ATOMIC_INIT(0);   /* delta in µs */
static atomic_t taho_glitch_filter_us = ATOMIC_INIT(35);

/* ─── Cycle-domain helpers ────────────────────────────────────────────────── */
/* Subtract in cycle domain (uint32_t wrap is correct), then convert to µs.
 * k_cycle_get_32() is ISR-safe (reads HW register) and has full clock
 * resolution (~6.7 ns at 150 MHz).  Wraparound every ~28 s is handled
 * by unsigned subtraction on the raw cycle values. */
static inline uint32_t cyc_delta_us(uint32_t from_cyc, uint32_t to_cyc)
{
	uint32_t delta_cyc = to_cyc - from_cyc;          /* handles wrap */
	return (uint32_t)k_cyc_to_us_floor64(delta_cyc); /* small value — safe */
}

/* Reject only narrow EMI glitches on the optical line — not valid slot edges.
 * 200 µs here falsely dropped real pulses (~15+ m/s with 68 holes on Ø65 mm ≈ 200 µs). */
static inline uint32_t clamp_glitch_filter_us(uint32_t us)
{
	if (us < 1U) {
		return 1U;
	}
	if (us > 500U) {
		return 500U;
	}
	return us;
}

/* ─── ISR ─────────────────────────────────────────────────────────────────── */
/* Port of taho_interrupt() from luna_car.h:71-78 */
static void tach_isr(const struct device *dev, struct gpio_callback *cb, uint32_t pins)
{
	ARG_UNUSED(dev);
	ARG_UNUSED(cb);
	ARG_UNUSED(pins);

	uint32_t now_cyc = k_cycle_get_32();
	uint32_t last_cyc = (uint32_t)atomic_get(&taho_last_cyc);
	uint32_t delta_us = cyc_delta_us(last_cyc, now_cyc);

	uint32_t glitch_filter_us = (uint32_t)atomic_get(&taho_glitch_filter_us);
	if (delta_us < glitch_filter_us) {
		return;
	}

	atomic_inc(&taho_count);
	atomic_set(&taho_interval, (atomic_val_t)delta_us);
	atomic_set(&taho_last_cyc, (atomic_val_t)now_cyc);
}

/* ─── Init ────────────────────────────────────────────────────────────────── */

void taho_init(void)
{
	struct car_settings c;
	settings_get_copy(&c);
	atomic_set(&taho_glitch_filter_us, (atomic_val_t)clamp_glitch_filter_us(
		(uint32_t)c.tach_glitch_filter_us));

	if (!gpio_is_ready_dt(&tach_gpio)) {
		LOG_ERR("Tachometer GPIO not ready");
		return;
	}

	gpio_pin_configure_dt(&tach_gpio, GPIO_INPUT);
	gpio_pin_interrupt_configure_dt(&tach_gpio, GPIO_INT_EDGE_TO_ACTIVE);
	gpio_init_callback(&tach_cb_data, tach_isr, BIT(tach_gpio.pin));
	gpio_add_callback(tach_gpio.port, &tach_cb_data);

	LOG_INF("Tachometer init (GP13, RISING edge)");
}

/* ─── Speed calculation ───────────────────────────────────────────────────── */
/* Port of get_speed() from luna_car.h:81-87 */

float taho_get_speed(void)
{
	struct car_settings c;
	settings_get_copy(&c);

	uint32_t now_cyc = k_cycle_get_32();
	uint32_t last_cyc = (uint32_t)atomic_get(&taho_last_cyc);
	uint32_t iv = (uint32_t)atomic_get(&taho_interval);

	uint32_t elapsed = cyc_delta_us(last_cyc, now_cyc);
	if (elapsed < iv) {
		elapsed = iv;
	}

	if (iv == 0 || elapsed > 500000 || c.encoder_holes <= 0) {
		return 0.0f;
	}

	return ((float)M_PI * c.wheel_diam_m) /
	       ((float)c.encoder_holes * ((float)elapsed / 1e6f));
}

uint32_t taho_get_count(void)
{
	return (uint32_t)atomic_get(&taho_count);
}

uint32_t taho_time_since_last_us(void)
{
	uint32_t now_cyc = k_cycle_get_32();
	uint32_t last_cyc = (uint32_t)atomic_get(&taho_last_cyc);
	return cyc_delta_us(last_cyc, now_cyc);
}

void taho_reset(void)
{
	atomic_set(&taho_count, 0);
	atomic_set(&taho_last_cyc, (atomic_val_t)k_cycle_get_32());
	atomic_set(&taho_interval, 0);
}

void taho_set_glitch_filter_us(uint32_t us)
{
	atomic_set(&taho_glitch_filter_us, (atomic_val_t)clamp_glitch_filter_us(us));
}
```

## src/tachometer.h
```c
#pragma once

#include <stdint.h>

/* ─── Tachometer: optical encoder on GP13 (RISING edge interrupt) ─────────── */

void taho_init(void);

/* Get current speed in m/s (interval-based, like Arduino get_speed()) */
float taho_get_speed(void);

/* Get raw pulse count (atomic) */
uint32_t taho_get_count(void);

/* Get µs since last pulse */
uint32_t taho_time_since_last_us(void);

/* Reset counters (for tests) */
void taho_reset(void);

/* Runtime update of ISR glitch filter threshold (µs) */
void taho_set_glitch_filter_us(uint32_t us);
```
